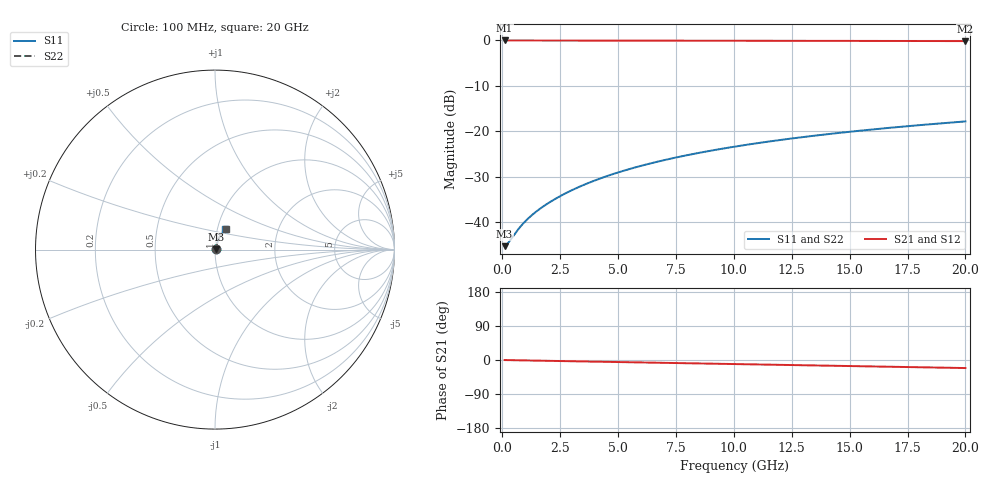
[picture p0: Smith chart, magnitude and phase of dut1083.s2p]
! Touchstone file exported from HFSS 2026.1.0
!  File:  C:/ffzhzh/LocalFiles/Ansys_Project_Files/temp_train_TMRDL_1083_1783160948_18472.aedt
!  Generated:  06:30:18 PM Jul  4, 2026
!  Design:  TMRDL
!  Project:  temp_train_TMRDL_1083_1783160948_18472
! Variables:
!  h_bsmrdl = 2um
!  h_ox = 20um
!  h_rdl = 5um
!  h_sub = 80um
!  h_tmrdl = 2.02um
!  h_tsv = 80um
!  h_via = 3um
!  l_bsmrdl = 300um
!  l_sub = 754.24um
!  l_tmrdl = 354.24um
!  m_sub = 200um
!  pitch = 17.67um
!  r_tsv = 6um
!  s_tmrdl = 10um
!  w_bsmrdl = 18um
!  w_sub = 500um
!  w_tmrdl = 11.97um
!  x_tsv_center1 = 360.225um
!  x_tsv_center2 = 678.225um
!  x_tsv_center3 = 1044.435um
!  x_tsv_center4 = 1362.435um
!  x_tsv_center5 = 1728.645um
!  x_tsv_center6 = 2046.645um
# GHz S MA R 50.000000
! Terminal data exported
! Port[1] = TM_RDL1_1_T1
! Port[2] = TM_RDL1_1_T2
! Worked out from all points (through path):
!   200 points, 100 MHz to 20 GHz, reference 50 ohm
!   highest |S21| = -0.05 dB at 100 MHz (marker M1); lowest = -0.2 dB at 20 GHz (marker M2)
!   group delay of S21, straight-line fit = 2.94 ps
!   lowest |S11| = -45.2 dB at 100 MHz (marker M3), VSWR 1.01, Z = 50.5 + j0.0899 ohm
!   |S11| at or under -10 dB: start of sweep to end of sweep
!   |S22| runs from -45.2 to -17.8 dB; largest |S21 - S12| = 2.1e-15
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0.1  0.005472 9.4  0.9946 -0.1  0.9946 -0.1  0.005472 9.4
! Gamma 0 0 0 0
! Port Impedance 50 0 50 0
0.2  0.005742 17.9  0.9945 -0.2  0.9945 -0.2  0.005742 17.9
0.3  0.006152 25.3  0.9944 -0.4  0.9944 -0.4  0.006152 25.3
0.7  0.00845 43.1  0.9939 -0.8  0.9939 -0.8  0.00845 43.1
0.9  0.009692 47.9  0.9936 -1.0  0.9936 -1.0  0.009692 47.9
1.2  0.01153 53.0  0.9932 -1.4  0.9932 -1.4  0.01153 53.0
1.5  0.01333 56.7  0.9929 -1.7  0.9929 -1.7  0.01333 56.7
1.9  0.01574 60.5  0.9926 -2.1  0.9926 -2.1  0.01574 60.5
2.4  0.01878 63.9  0.9924 -2.6  0.9924 -2.6  0.01878 63.9
2.9  0.02189 66.4  0.9921 -3.2  0.9921 -3.2  0.02189 66.3
3.5  0.02567 68.4  0.9919 -3.8  0.9919 -3.8  0.02567 68.4
4.2  0.03015 70.0  0.9916 -4.6  0.9916 -4.6  0.03015 70.0
5  0.03531 71.2  0.9912 -5.4  0.9912 -5.4  0.03531 71.1
5.9  0.04115 71.8  0.9908 -6.4  0.9908 -6.4  0.04115 71.8
6.8  0.04699 72.0  0.9903 -7.4  0.9903 -7.4  0.047 72.0
8.4  0.05734 71.8  0.9893 -9.1  0.9893 -9.1  0.05735 71.8
10.1  0.06824 71.0  0.988 -10.9  0.988 -10.9  0.06825 71.0
11.7  0.07837 70.0  0.9867 -12.6  0.9867 -12.6  0.07838 69.9
13.4  0.08897 68.7  0.9853 -14.4  0.9853 -14.4  0.08898 68.6
15  0.09879 67.4  0.9837 -16.0  0.9837 -16.0  0.0988 67.3
16.7  0.109 65.9  0.982 -17.8  0.982 -17.8  0.109 65.8
20  0.1283 62.9  0.9784 -21.2  0.9784 -21.2  0.1283 62.8
